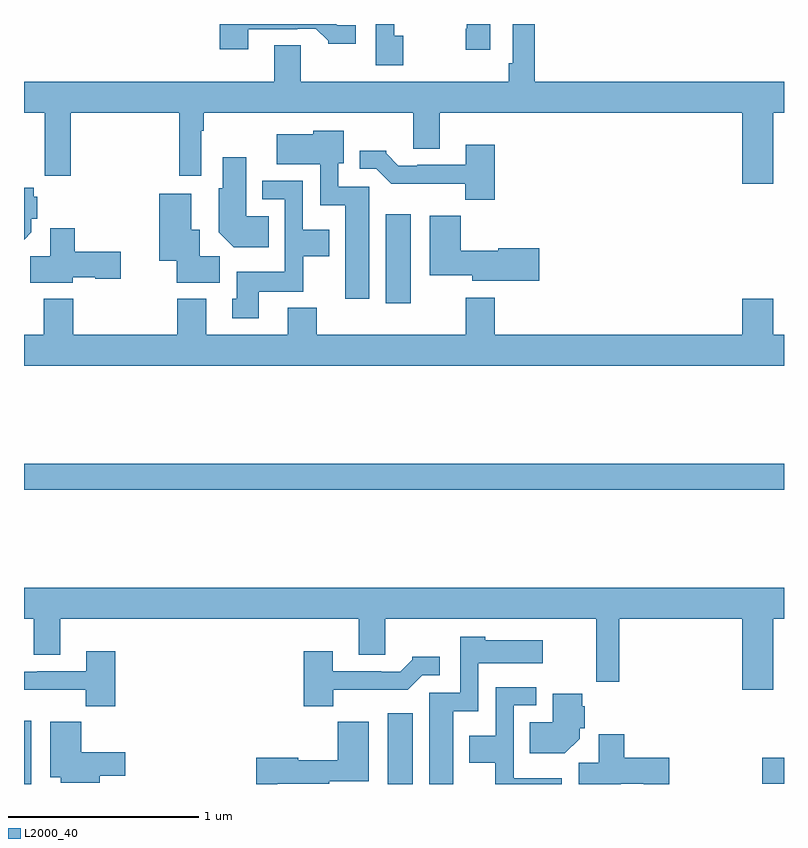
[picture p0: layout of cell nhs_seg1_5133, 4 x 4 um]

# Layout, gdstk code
import gdstk
lib = gdstk.Library(unit=1e-6, precision=1e-09)
def R(c, l, rs):  # rectangles x0, y0, x1, y1
    for r in rs: c.add(gdstk.rectangle(r[:2], r[2:], *l))
def P(c, l, *ps):  # polygons
    for p in ps: c.add(gdstk.Polygon(p, *l))
L2000_40 = (2000, 40)

nhs_seg1_5133 = lib.new_cell('nhs_seg1_5133')
R(nhs_seg1_5133, L2000_40, [(389,548.199,389.038,548.533), (390.914,548.199,391.045,548.572), (392.886,548.201,393,548.336), (389,549.748,393,549.884), (390.905,550.728,391.036,551.197)])
P(nhs_seg1_5133, L2000_40, [(392.944,551.732),(393,551.732),(393,551.896),(391.688,551.896),(391.688,552.199),(391.572,552.199),(391.572,551.992),(391.552,551.992),(391.552,551.896),(390.457,551.896),(390.457,552.086),(390.317,552.086),(390.317,551.896),(389,551.896),(389,551.732),(389.11,551.732),(389.11,551.4),(389.246,551.4),(389.246,551.732),(389.818,551.732),(389.818,551.4),(389.934,551.4),(389.934,551.636),(389.947,551.636),(389.947,551.732),(391.049,551.732),(391.049,551.542),(391.189,551.542),(391.189,551.732),(392.78,551.732),(392.78,551.358),(392.944,551.358)],
  [(390.181,552.171),(390.437,552.171),(390.437,552.174),(390.536,552.174),(390.6,552.11),(390.6,552.095),(390.745,552.095),(390.745,552.192),(390.651,552.192),(390.644,552.199),(390.029,552.199),(390.029,552.066),(390.181,552.066)],
  [(391.453,552.199),(391.331,552.199),(391.331,552.175),(391.324,552.175),(391.324,552.063),(391.453,552.063)],
  [(390.996,552.138),(390.948,552.138),(390.948,552.199),(390.852,552.199),(390.852,551.982),(390.996,551.982)],
  [(390.817,551.343),(390.654,551.343),(390.654,551.466),(390.682,551.466),(390.682,551.638),(390.522,551.638),(390.522,551.62),(390.33,551.62),(390.33,551.462),(390.558,551.462),(390.558,551.246),(390.692,551.246),(390.692,550.752),(390.817,550.752)],
  [(391.478,551.563),(391.325,551.563),(391.325,551.457),(391.069,551.457),(391.069,551.454),(390.97,551.454),(390.906,551.518),(390.906,551.533),(390.767,551.533),(390.767,551.436),(390.855,551.436),(390.934,551.358),(391.323,551.358),(391.323,551.273),(391.478,551.273)],
  [(390.287,551.188),(390.169,551.188),(390.169,551.497),(390.047,551.497),(390.047,551.334),(390.026,551.334),(390.026,551.102),(390.104,551.024),(390.287,551.024)],
  [(390.235,550.79),(390.471,550.79),(390.471,550.976),(390.607,550.976),(390.607,551.116),(390.468,551.116),(390.468,551.373),(390.255,551.373),(390.255,551.277),(390.372,551.277),(390.372,550.894),(390.119,550.894),(390.119,550.752),(390.095,550.752),(390.095,550.65),(390.235,550.65)],
  [(389.038,551.102),(389.038,551.175),(389.069,551.175),(389.069,551.289),(389.051,551.289),(389.051,551.338),(389,551.338),(389,551.064)],
  [(390.031,550.976),(389.926,550.976),(389.926,551.116),(389.881,551.116),(389.881,551.305),(389.711,551.305),(389.711,550.952),(389.804,550.952),(389.804,550.838),(390.031,550.838)],
  [(391.711,551.018),(391.497,551.018),(391.497,551.005),(391.298,551.005),(391.298,551.191),(391.136,551.191),(391.136,550.877),(391.358,550.877),(391.358,550.847),(391.711,550.847)],
  [(389.256,550.865),(389.376,550.865),(389.376,550.858),(389.509,550.858),(389.509,551),(389.268,551),(389.268,551.125),(389.138,551.125),(389.138,550.976),(389.033,550.976),(389.033,550.838),(389.256,550.838)],
  [(393,550.564),(392.944,550.564),(392.944,550.753),(392.78,550.753),(392.78,550.564),(391.478,550.564),(391.478,550.759),(391.325,550.759),(391.325,550.564),(390.542,550.564),(390.542,550.705),(390.389,550.705),(390.389,550.564),(389.959,550.564),(389.959,550.753),(389.807,550.753),(389.807,550.564),(389.258,550.564),(389.258,550.753),(389.105,550.753),(389.105,550.564),(389,550.564),(389,550.4),(393,550.4)],
  [(392.944,549.068),(393,549.068),(393,549.232),(389,549.232),(389,549.068),(389.051,549.068),(389.051,548.878),(389.191,548.878),(389.191,549.068),(390.761,549.068),(390.761,548.878),(390.901,548.878),(390.901,549.068),(392.011,549.068),(392.011,548.736),(392.132,548.736),(392.132,549.068),(392.78,549.068),(392.78,548.694),(392.944,548.694)],
  [(391.258,548.582),(391.392,548.582),(391.392,548.834),(391.729,548.834),(391.729,548.956),(391.428,548.956),(391.428,548.974),(391.296,548.974),(391.296,548.679),(391.133,548.679),(391.133,548.199),(391.258,548.199)],
  [(389.48,548.899),(389.327,548.899),(389.327,548.793),(389.071,548.793),(389.071,548.79),(389,548.79),(389,548.694),(389.325,548.694),(389.325,548.609),(389.48,548.609)],
  [(390.628,548.696),(391.019,548.696),(391.095,548.772),(391.189,548.772),(391.189,548.869),(391.044,548.869),(391.044,548.854),(390.98,548.79),(390.881,548.79),(390.881,548.793),(390.625,548.793),(390.625,548.899),(390.473,548.899),(390.473,548.609),(390.628,548.609)],
  [(391.831,548.23),(391.578,548.23),(391.578,548.613),(391.696,548.613),(391.696,548.709),(391.482,548.709),(391.482,548.452),(391.343,548.452),(391.343,548.312),(391.48,548.312),(391.48,548.199),(391.831,548.199)],
  [(391.924,548.438),(391.924,548.493),(391.952,548.493),(391.952,548.607),(391.937,548.607),(391.937,548.674),(391.784,548.674),(391.784,548.524),(391.663,548.524),(391.663,548.36),(391.846,548.36)],
  [(390.334,548.201),(390.606,548.201),(390.606,548.213),(390.814,548.213),(390.814,548.527),(390.652,548.527),(390.652,548.323),(390.444,548.323),(390.444,548.336),(390.222,548.336),(390.222,548.199),(390.334,548.199)],
  [(389.398,548.243),(389.533,548.243),(389.533,548.365),(389.3,548.365),(389.3,548.527),(389.138,548.527),(389.138,548.234),(389.193,548.234),(389.193,548.206),(389.398,548.206)],
  [(392.142,548.201),(392.262,548.201),(392.262,548.199),(392.395,548.199),(392.395,548.336),(392.159,548.336),(392.159,548.461),(392.026,548.461),(392.026,548.312),(391.919,548.312),(391.919,548.199),(392.142,548.199)])

lib.write_gds('nhs_seg1_5133.gds')
